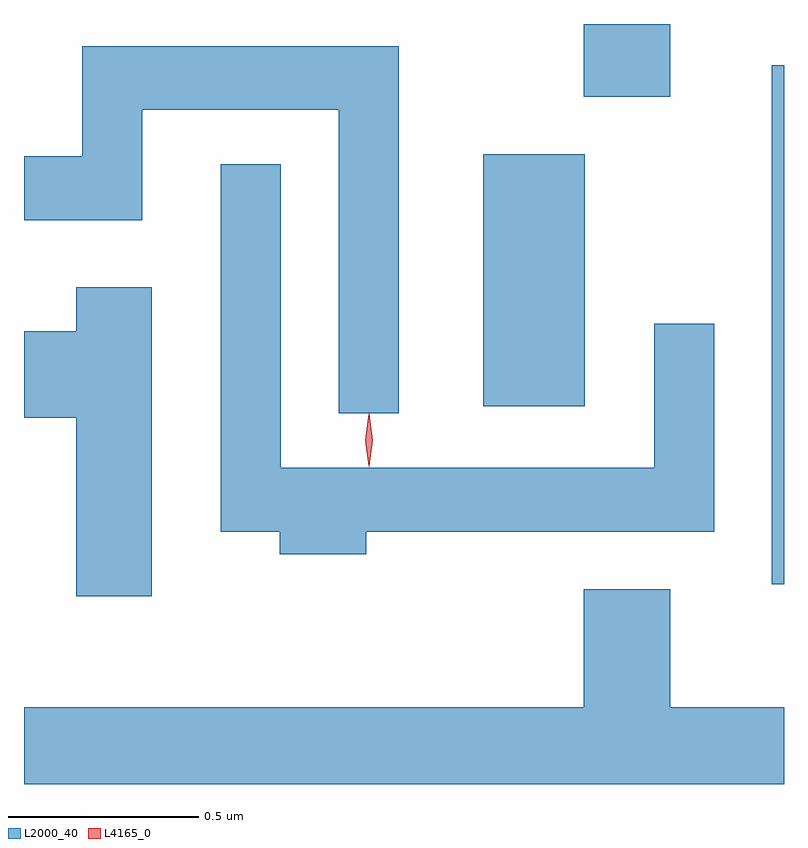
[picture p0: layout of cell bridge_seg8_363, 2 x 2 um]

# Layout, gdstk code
import gdstk
lib = gdstk.Library(unit=1e-6, precision=1e-09)
def R(c, l, rs):  # rectangles x0, y0, x1, y1
    for r in rs: c.add(gdstk.rectangle(r[:2], r[2:], *l))
def P(c, l, *ps):  # polygons
    for p in ps: c.add(gdstk.Polygon(p, *l))
L2000_40 = (2000, 40)
L4165_0 = (4165, 0)

bridge_seg8_363 = lib.new_cell('bridge_seg8_363')
R(bridge_seg8_363, L2000_40, [(738.086,1930.248,738.118,1931.614), (737.326,1930.716,737.594,1931.379), (737.591,1931.531,737.819,1931.722)])
P(bridge_seg8_363, L2000_40, [(737.104,1931.664),(736.271,1931.664),(736.271,1931.374),(736.118,1931.374),(736.118,1931.206),(736.429,1931.206),(736.429,1931.496),(736.946,1931.496),(736.946,1930.698),(737.104,1930.698)],
  [(737.019,1930.386),(737.934,1930.386),(737.934,1930.933),(737.776,1930.933),(737.776,1930.554),(736.794,1930.554),(736.794,1931.353),(736.636,1931.353),(736.636,1930.386),(736.791,1930.386),(736.791,1930.326),(737.019,1930.326)],
  [(736.454,1931.029),(736.256,1931.029),(736.256,1930.914),(736.118,1930.914),(736.118,1930.686),(736.256,1930.686),(736.256,1930.216),(736.454,1930.216)],
  [(738.118,1929.924),(737.819,1929.924),(737.819,1930.234),(737.591,1930.234),(737.591,1929.924),(736.118,1929.924),(736.118,1929.722),(738.118,1929.722)])
P(bridge_seg8_363, L4165_0, [(737.026,1930.557),(737.025,1930.558),(737.016,1930.627),(737.025,1930.696),(737.026,1930.696),(737.026,1930.696),(737.036,1930.627),(737.026,1930.558)])

lib.write_gds('bridge_seg8_363.gds')
